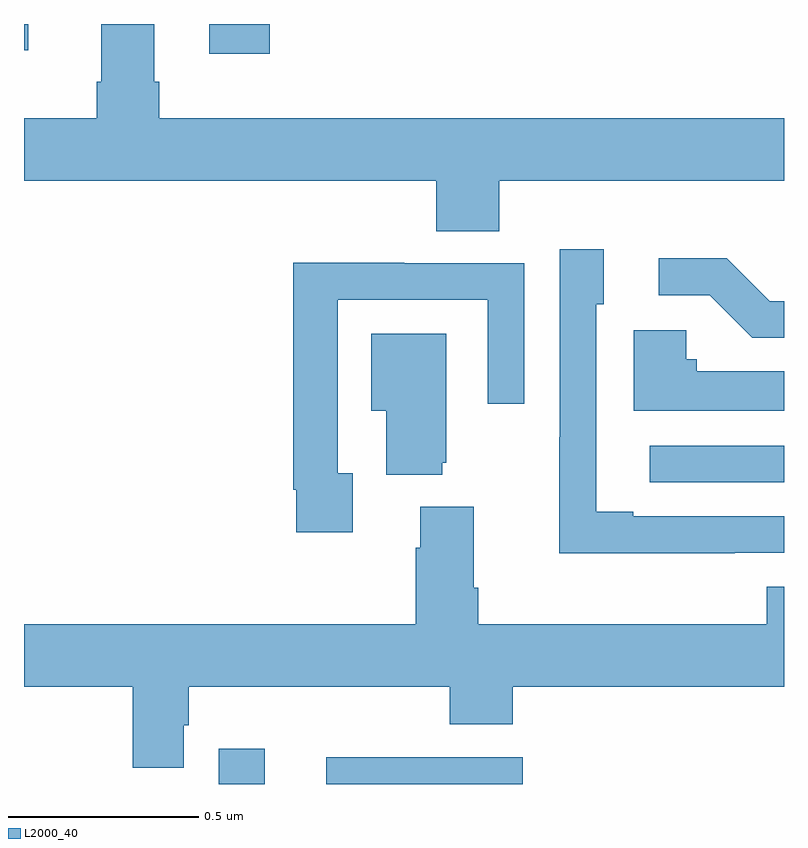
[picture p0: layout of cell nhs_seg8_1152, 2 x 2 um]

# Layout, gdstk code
import gdstk
lib = gdstk.Library(unit=1e-6, precision=1e-09)
def R(c, l, rs):  # rectangles x0, y0, x1, y1
    for r in rs: c.add(gdstk.rectangle(r[:2], r[2:], *l))
def P(c, l, *ps):  # polygons
    for p in ps: c.add(gdstk.Polygon(p, *l))
L2000_40 = (2000, 40)

nhs_seg8_1152 = lib.new_cell('nhs_seg8_1152')
R(nhs_seg8_1152, L2000_40, [(126.512,1126.9,126.634,1126.993), (126.795,1126.9,127.313,1126.97), (127.647,1127.694,128,1127.79), (126.488,1128.822,126.647,1128.9), (126,1128.831,126.011,1128.9)])
P(nhs_seg8_1152, L2000_40, [(127.25,1128.488),(128,1128.488),(128,1128.652),(126.356,1128.652),(126.356,1128.748),(126.343,1128.748),(126.343,1128.9),(126.203,1128.9),(126.203,1128.748),(126.191,1128.748),(126.191,1128.652),(126,1128.652),(126,1128.488),(127.085,1128.488),(127.085,1128.355),(127.25,1128.355)],
  [(127.871,1127.508),(128,1127.508),(128,1127.604),(127.603,1127.604),(127.603,1127.617),(127.506,1127.617),(127.506,1128.162),(127.525,1128.162),(127.525,1128.307),(127.41,1128.307),(127.41,1127.813),(127.408,1127.813),(127.408,1127.507),(127.871,1127.507)],
  [(128,1128.171),(127.962,1128.171),(127.849,1128.284),(127.671,1128.284),(127.671,1128.186),(127.805,1128.186),(127.916,1128.075),(128,1128.075)],
  [(126.865,1127.718),(126.825,1127.718),(126.825,1128.174),(127.221,1128.174),(127.221,1127.901),(127.317,1127.901),(127.317,1128.27),(127.001,1128.27),(127.001,1128.272),(126.709,1128.272),(126.709,1127.674),(126.717,1127.674),(126.717,1127.562),(126.865,1127.562)],
  [(128,1127.986),(127.77,1127.986),(127.77,1128.018),(127.743,1128.018),(127.743,1128.094),(127.604,1128.094),(127.604,1127.882),(128,1127.882)],
  [(127.1,1127.745),(127.111,1127.745),(127.111,1128.085),(126.914,1128.085),(126.914,1127.882),(126.953,1127.882),(126.953,1127.714),(127.1,1127.714)],
  [(126.421,1127.055),(126.434,1127.055),(126.434,1127.156),(127.121,1127.156),(127.121,1127.057),(127.286,1127.057),(127.286,1127.156),(128,1127.156),(128,1127.419),(127.955,1127.419),(127.955,1127.32),(127.196,1127.32),(127.196,1127.416),(127.183,1127.416),(127.183,1127.629),(127.043,1127.629),(127.043,1127.522),(127.031,1127.522),(127.031,1127.32),(126,1127.32),(126,1127.156),(126.286,1127.156),(126.286,1126.943),(126.421,1126.943)])

lib.write_gds('nhs_seg8_1152.gds')
